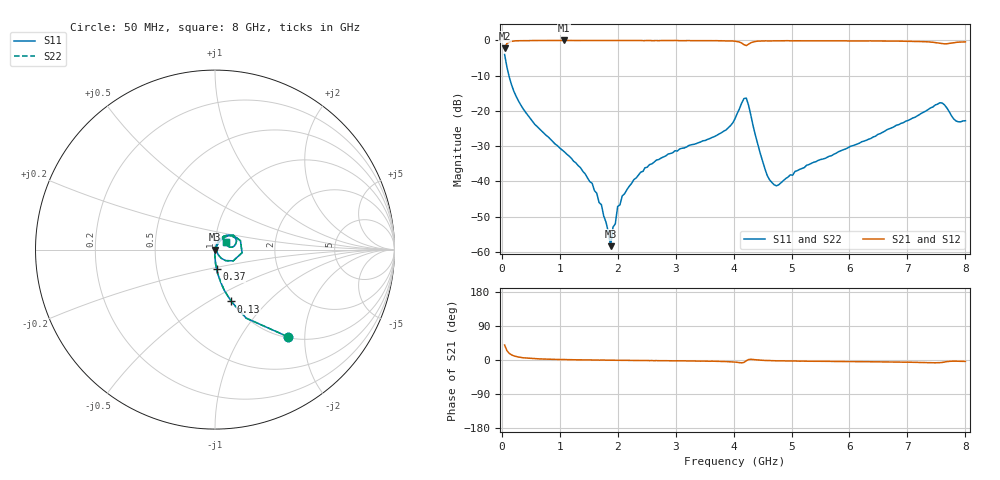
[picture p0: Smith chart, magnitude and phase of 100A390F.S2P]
!  American Technical Ceramics  Date:  3/13/98
!  One Norden Lane
!  Huntington Station,  NY.  11746-2102
!  Tel:  (516) 547-5700  Fax:  (516) 547-5748
!  Part Number  100A390F
!  Description: Porcelain, High Q, Low ESR
!  Application: Bypass, Coupling, Timing, Feedback
!  Tuning, Impedance Match, Blocking
# GHZ S DB R 50
! Freq  |S11|  S11 Ph  |S21|  S21 Ph  |S12|  S12 Ph  |S22|  S22 Ph
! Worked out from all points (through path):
!   201 points, 50 MHz to 8 GHz, reference 50 ohm
!   highest |S21| = 0.01 dB at 1.08 GHz (marker M1); lowest = -2.3 dB at 50 MHz (marker M2)
!   group delay of S21, straight-line fit = 4.03 ps
!   lowest |S11| = -58.4 dB at 1.88 GHz (marker M3), VSWR 1.00, Z = 50.1 + j0.0116 ohm
!   |S11| at or under -10 dB: 124.6 MHz to end of sweep
!   |S22| runs from -58.4 to -4.0 dB; largest |S21 - S12| = 0
!   S11 on the Smith chart (normalised r, x): 50 MHz: 1.02, -1.65; 130 MHz: 1.00, -0.63; 370 MHz: 0.99, -0.21; 8 GHz: 1.12, +0.09
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0.05  -3.99 -50.2  -2.25 39.5  -2.25 39.5  -3.99 -50.2
0.13  -10.38 -72.5  -0.49 17.5  -0.49 17.5  -10.38 -72.5
0.37  -19.40 -85.5  -0.03 5.8  -0.03 5.8  -19.40 -85.5
1.08  -31.60 -92.6  0.01 1.2  0.01 1.2  -31.60 -92.6
1.4  -37.16 -90.7  0.00 0.4  0.00 0.4  -37.16 -90.7
1.72  -46.63 -76.9  0.00 -0.2  0.00 -0.2  -46.63 -76.9
1.88  -58.41 5.5  0.00 -0.5  0.00 -0.5  -58.41 5.5
1.92  -52.97 25.8  -0.01 -0.5  -0.01 -0.5  -52.97 25.8
1.96  -52.09 40.4  -0.01 -0.6  -0.01 -0.6  -52.09 40.4
2  -47.13 57.8  0.00 -0.7  0.00 -0.7  -47.13 57.8
2.08  -44.12 68.8  -0.01 -0.9  -0.01 -0.9  -44.12 68.8
2.71  -33.80 72.9  -0.04 -1.8  -0.04 -1.8  -33.80 72.9
3.71  -26.94 68.0  -0.05 -3.7  -0.05 -3.7  -26.94 68.0
4.03  -22.04 60.0  -0.21 -5.5  -0.21 -5.5  -22.04 60.0
4.22  -16.37 -6.6  -1.44 -2.0  -1.44 -2.0  -16.37 -6.6
4.54  -36.37 -44.3  -0.11 -1.1  -0.11 -1.1  -36.37 -44.3
4.7  -40.98 1.2  -0.11 -1.9  -0.11 -1.9  -40.98 1.2
5.38  -34.59 60.5  -0.09 -3.3  -0.09 -3.3  -34.59 60.5
6.69  -25.06 60.3  -0.16 -5.2  -0.16 -5.2  -25.06 60.3
7.56  -17.69 29.3  -0.79 -7.0  -0.79 -7.0  -17.69 29.3
7.84  -22.88 18.6  -0.54 -3.2  -0.54 -3.2  -22.88 18.6
8  -22.79 34.0  -0.39 -3.8  -0.39 -3.8  -22.79 34.0
